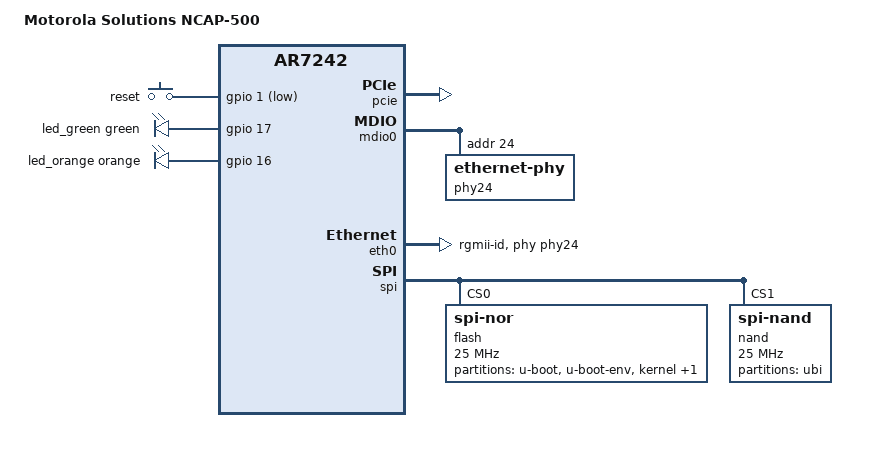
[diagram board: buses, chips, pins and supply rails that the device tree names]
// SPDX-License-Identifier: GPL-2.0-or-later OR MIT

#include "ar7242.dtsi"

#include <dt-bindings/gpio/gpio.h>
#include <dt-bindings/input/input.h>
#include <dt-bindings/leds/common.h>

/ {
	compatible = "motorola,ncap-500", "qca,ar7242";
	model = "Motorola Solutions NCAP-500";

	aliases {
		led-boot = &led_green;
		led-failsafe = &led_orange;
		led-running = &led_green;
		led-upgrade = &led_orange;
		label-mac-device = &eth0;
	};

	chosen {
		bootargs = "console=ttyS0,19200n8";
	};

	keys {
		compatible = "gpio-keys";

		reset {
			label = "reset";
			linux,code = <KEY_RESTART>;
			gpios = <&gpio 1 GPIO_ACTIVE_LOW>;
			debounce-interval = <60>;
		};
	};

	leds {
		compatible = "gpio-leds";

		led_green: green {
			color = <LED_COLOR_ID_GREEN>;
			function = LED_FUNCTION_STATUS;
			gpios = <&gpio 17 GPIO_ACTIVE_HIGH>;
		};

		led_orange: orange {
			color = <LED_COLOR_ID_ORANGE>;
			function = LED_FUNCTION_FAULT;
			gpios = <&gpio 16 GPIO_ACTIVE_HIGH>;
		};
	};
};

&pcie {
	status = "okay";

	compatible = "motorola,ncap-500-pci", "qcom,ar7240-pci";
};

&mdio0 {
	status = "okay";

	phy24: ethernet-phy@18 {
		reg = <0x18>;
	};
};

&eth0 {
	status = "okay";

	phy-mode = "rgmii-id";
	phy-handle = <&phy24>;
	pll-data = <0x06000000 0x00000101 0x00001616>;
	nvmem-cells = <&macaddr_uboot_ethaddr>;
	nvmem-cell-names = "mac-address";
};

&eth1 {
	status = "disabled";
};

&spi {
	status = "okay";

	flash@0 {
		compatible = "jedec,spi-nor";
		reg = <0>;
		spi-max-frequency = <25000000>;

		partitions {
			compatible = "fixed-partitions";
			#address-cells = <1>;
			#size-cells = <1>;

			partition@0 {
				label = "u-boot";
				reg = <0x000000 0x0d0000>;
				read-only;
			};

			partition@d0000 {
				label = "u-boot-env";
				reg = <0x0d0000 0x010000>;
				read-only;

				nvmem-layout {
					compatible = "u-boot,env";

					macaddr_uboot_ethaddr: ethaddr {
					};
				};
			};

			partition@e0000 {
				label = "kernel";
				reg = <0x0e0000 0x680000>;
			};

			partition@760000 {
				label = "vendor-data";
				reg = <0x760000 0x0a0000>;
				read-only;
			};
		};
	};

	nand@1 {
		compatible = "spi-nand";
		reg = <1>;
		spi-max-frequency = <25000000>;

		partitions {
			compatible = "fixed-partitions";
			#address-cells = <1>;
			#size-cells = <1>;

			partition@0 {
				label = "ubi";
				reg = <0x0 0x8000000>;
			};
		};
	};
};
